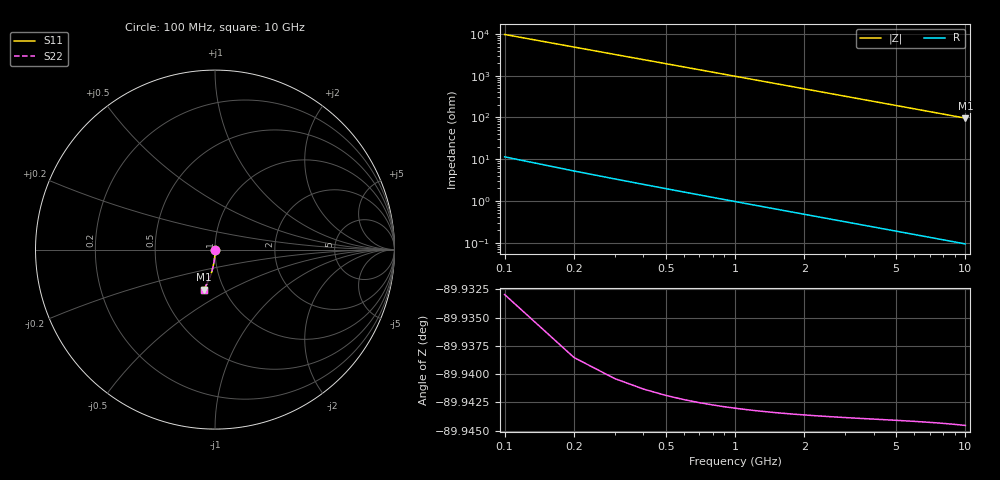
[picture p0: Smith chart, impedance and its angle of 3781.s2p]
# Hz S RI R 50.00
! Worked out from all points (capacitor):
!   100 points, 100 MHz to 10 GHz, reference 50 ohm
!   read as one part in shunt: C = 164 fF near 100 MHz
!   lowest |Z| = 96.1 ohm at 10 GHz (marker M1)
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1e8  4.14e-05 -0.00237  0.9999 -0.00278  0.9999 -0.00278  4.14e-05 -0.00237
2e8  1.95e-05 -0.00473  0.9999 -0.00557  0.9999 -0.00557  1.95e-05 -0.00473
3e8  -1.57e-05 -0.0071  0.9999 -0.00835  0.9999 -0.00835  -1.57e-05 -0.0071
4e8  -6.41e-05 -0.00947  0.9998 -0.0111  0.9998 -0.0111  -6.41e-05 -0.00947
5e8  -0.000126 -0.0118  0.9998 -0.0139  0.9998 -0.0139  -0.000126 -0.0118
6e8  -0.000201 -0.0142  0.9997 -0.0167  0.9997 -0.0167  -0.000201 -0.0142
7e8  -0.000289 -0.0166  0.9996 -0.0195  0.9996 -0.0195  -0.000289 -0.0166
8e8  -0.00039 -0.0189  0.9995 -0.0223  0.9995 -0.0223  -0.00039 -0.0189
9e8  -0.000504 -0.0213  0.9994 -0.025  0.9994 -0.025  -0.000504 -0.0213
1.1e9  -0.000773 -0.026  0.9991 -0.0306  0.9991 -0.0306  -0.000773 -0.026
1.4e9  -0.00127 -0.0331  0.9986 -0.039  0.9986 -0.039  -0.00127 -0.0331
1.8e9  -0.00213 -0.0426  0.9977 -0.0501  0.9977 -0.0501  -0.00213 -0.0426
2.1e9  -0.00291 -0.0496  0.9969 -0.0584  0.9969 -0.0584  -0.00291 -0.0496
2.5e9  -0.00413 -0.059  0.9957 -0.0695  0.9957 -0.0695  -0.00413 -0.059
2.9e9  -0.00556 -0.0684  0.9943 -0.0806  0.9943 -0.0806  -0.00556 -0.0684
3.4e9  -0.00765 -0.0801  0.9921 -0.0943  0.9921 -0.0943  -0.00765 -0.0801
4.2e9  -0.0117 -0.0987  0.9881 -0.1163  0.9881 -0.1163  -0.0117 -0.0987
5.1e9  -0.0172 -0.1193  0.9825 -0.1407  0.9825 -0.1407  -0.0172 -0.1193
5.9e9  -0.0229 -0.1373  0.9767 -0.1621  0.9767 -0.1621  -0.0229 -0.1373
6.7e9  -0.0294 -0.155  0.9701 -0.1832  0.9701 -0.1832  -0.0294 -0.155
8.4e9  -0.0457 -0.1913  0.9536 -0.2268  0.9536 -0.2268  -0.0457 -0.1913
1e10  -0.0638 -0.2235  0.9352 -0.266  0.9352 -0.266  -0.0638 -0.2235
